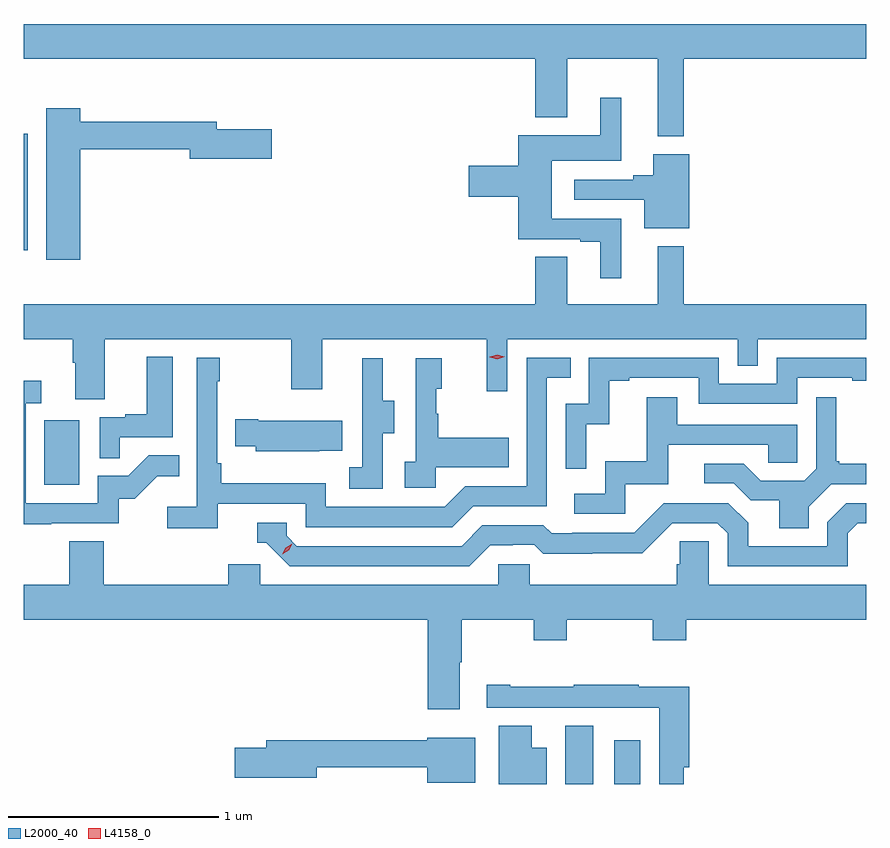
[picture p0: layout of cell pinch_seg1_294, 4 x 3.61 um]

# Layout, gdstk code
import gdstk
lib = gdstk.Library(unit=1e-6, precision=1e-09)
def R(c, l, rs):  # rectangles x0, y0, x1, y1
    for r in rs: c.add(gdstk.rectangle(r[:2], r[2:], *l))
def P(c, l, *ps):  # polygons
    for p in ps: c.add(gdstk.Polygon(p, *l))
L2000_40 = (2000, 40)
L4158_0 = (4158, 0)

pinch_seg1_294 = lib.new_cell('pinch_seg1_294')
R(pinch_seg1_294, L2000_40, [(937.022,561.607,937.156,561.884), (937.256,561.607,937.378,561.814), (934.55,563.028,934.714,563.335), (934.452,564.142,934.47,564.694)])
P(pinch_seg1_294, L2000_40, [(937.585,565.052),(938.452,565.052),(938.452,565.216),(934.452,565.216),(934.452,565.052),(936.881,565.052),(936.881,564.773),(937.033,564.773),(937.033,565.052),(937.463,565.052),(937.463,564.684),(937.585,564.684)],
  [(937.288,564.291),(936.958,564.291),(936.958,564.566),(937.288,564.566),(937.288,564.865),(937.19,564.865),(937.19,564.688),(936.8,564.688),(936.8,564.542),(936.564,564.542),(936.564,564.395),(936.8,564.395),(936.8,564.195),(937.094,564.195),(937.094,564.183),(937.19,564.183),(937.19,564.009),(937.288,564.009)],
  [(934.72,564.622),(935.24,564.622),(935.24,564.575),(935.629,564.575),(935.629,564.717),(935.368,564.717),(935.368,564.751),(934.72,564.751),(934.72,564.817),(934.559,564.817),(934.559,564.096),(934.72,564.096)],
  [(937.613,564.598),(937.442,564.598),(937.442,564.497),(937.346,564.497),(937.346,564.477),(937.065,564.477),(937.065,564.381),(937.397,564.381),(937.397,564.245),(937.613,564.245)],
  [(934.837,563.72),(935.722,563.72),(935.722,563.481),(935.869,563.481),(935.869,563.72),(936.65,563.72),(936.65,563.472),(936.747,563.472),(936.747,563.72),(937.842,563.72),(937.842,563.593),(937.938,563.593),(937.938,563.72),(938.452,563.72),(938.452,563.884),(937.585,563.884),(937.585,564.16),(937.463,564.16),(937.463,563.884),(937.033,563.884),(937.033,564.11),(936.881,564.11),(936.881,563.884),(934.452,563.884),(934.452,563.72),(934.685,563.72),(934.685,563.608),(934.697,563.608),(934.697,563.434),(934.837,563.434)],
  [(934.907,563.253),(935.158,563.253),(935.158,563.635),(935.036,563.635),(935.036,563.362),(934.933,563.362),(934.933,563.349),(934.812,563.349),(934.812,563.155),(934.907,563.155)],
  [(935.372,562.938),(935.79,562.938),(935.79,562.827),(936.487,562.827),(936.586,562.926),(936.936,562.926),(936.936,563.535),(937.049,563.535),(937.049,563.631),(936.84,563.631),(936.84,563.022),(936.549,563.022),(936.45,562.923),(935.886,562.923),(935.886,563.035),(935.39,563.035),(935.39,563.131),(935.37,563.131),(935.37,563.519),(935.383,563.519),(935.383,563.632),(935.274,563.632),(935.274,562.924),(935.133,562.924),(935.133,562.822),(935.372,562.822)],
  [(937.122,563.315),(937.232,563.315),(937.232,563.523),(937.327,563.523),(937.327,563.535),(937.656,563.535),(937.656,563.412),(938.124,563.412),(938.124,563.535),(938.387,563.535),(938.387,563.523),(938.452,563.523),(938.452,563.631),(938.028,563.631),(938.028,563.508),(937.752,563.508),(937.752,563.631),(937.134,563.631),(937.134,563.412),(937.026,563.412),(937.026,563.103),(937.122,563.103)],
  [(936.156,563.272),(936.211,563.272),(936.211,563.427),(936.157,563.427),(936.157,563.629),(936.059,563.629),(936.059,563.415),(936.06,563.415),(936.06,563.111),(935.997,563.111),(935.997,563.008),(936.156,563.008)],
  [(936.408,563.111),(936.755,563.111),(936.755,563.251),(936.421,563.251),(936.421,563.366),(936.411,563.366),(936.411,563.484),(936.436,563.484),(936.436,563.629),(936.312,563.629),(936.312,563.138),(936.261,563.138),(936.261,563.013),(936.408,563.013)],
  [(934.583,562.845),(934.902,562.845),(934.902,562.962),(934.978,562.962),(935.085,563.069),(935.189,563.069),(935.189,563.168),(935.046,563.168),(934.948,563.07),(934.803,563.07),(934.803,562.941),(934.461,562.941),(934.461,563.415),(934.534,563.415),(934.534,563.521),(934.452,563.521),(934.452,562.84),(934.583,562.84)],
  [(937.308,563.031),(937.513,563.031),(937.513,563.217),(937.987,563.217),(937.987,563.133),(938.124,563.133),(938.124,563.313),(937.555,563.313),(937.555,563.443),(937.411,563.443),(937.411,563.14),(937.212,563.14),(937.212,562.986),(937.065,562.986),(937.065,562.89),(937.308,562.89)],
  [(938.179,562.924),(938.286,563.031),(938.452,563.031),(938.452,563.128),(938.323,563.128),(938.323,563.14),(938.311,563.14),(938.311,563.443),(938.214,563.443),(938.214,563.103),(938.157,563.046),(937.951,563.046),(937.87,563.127),(937.683,563.127),(937.683,563.034),(937.824,563.034),(937.904,562.954),(938.039,562.954),(938.039,562.822),(938.179,562.822)],
  [(935.855,563.189),(935.963,563.189),(935.963,563.332),(935.566,563.332),(935.566,563.34),(935.455,563.34),(935.455,563.21),(935.553,563.21),(935.553,563.186),(935.855,563.186)],
  [(936.667,562.74),(936.774,562.74),(936.774,562.743),(936.877,562.743),(936.919,562.701),(937.152,562.701),(937.152,562.703),(937.388,562.703),(937.53,562.845),(937.746,562.845),(937.794,562.797),(937.794,562.641),(938.364,562.641),(938.364,562.797),(938.412,562.845),(938.452,562.845),(938.452,562.941),(938.358,562.941),(938.268,562.851),(938.268,562.737),(937.891,562.737),(937.891,562.847),(937.797,562.941),(937.491,562.941),(937.35,562.8),(937.057,562.8),(937.057,562.797),(936.958,562.797),(936.919,562.836),(936.63,562.836),(936.531,562.737),(935.748,562.737),(935.7,562.785),(935.7,562.848),(935.561,562.848),(935.561,562.752),(935.604,562.752),(935.715,562.641),(936.568,562.641)],
  [(936.523,562.184),(936.531,562.184),(936.531,562.388),(936.874,562.388),(936.874,562.289),(937.029,562.289),(937.029,562.388),(937.438,562.388),(937.438,562.289),(937.598,562.289),(937.598,562.388),(938.452,562.388),(938.452,562.552),(937.704,562.552),(937.704,562.76),(937.567,562.76),(937.567,562.65),(937.553,562.65),(937.553,562.552),(936.855,562.552),(936.855,562.65),(936.705,562.65),(936.705,562.552),(935.574,562.552),(935.574,562.65),(935.423,562.65),(935.423,562.552),(934.832,562.552),(934.832,562.76),(934.667,562.76),(934.667,562.552),(934.452,562.552),(934.452,562.388),(936.371,562.388),(936.371,561.963),(936.523,561.963)],
  [(937.586,561.686),(937.613,561.686),(937.613,562.068),(937.373,562.068),(937.373,562.078),(937.063,562.078),(937.063,562.068),(936.763,562.068),(936.763,562.078),(936.651,562.078),(936.651,561.969),(937.26,561.969),(937.26,561.968),(937.47,561.968),(937.47,561.607),(937.586,561.607)],
  [(936.934,561.778),(936.865,561.778),(936.865,561.884),(936.707,561.884),(936.707,561.607),(936.934,561.607)],
  [(936.595,561.826),(936.368,561.826),(936.368,561.815),(935.603,561.815),(935.603,561.779),(935.454,561.779),(935.454,561.637),(935.842,561.637),(935.842,561.687),(936.368,561.687),(936.368,561.614),(936.595,561.614)])
P(pinch_seg1_294, L4158_0, [(936.7,563.625),(936.664,563.634),(936.664,563.635),(936.664,563.635),(936.7,563.645),(936.735,563.635),(936.735,563.635),(936.735,563.635)],
  [(935.678,562.698),(935.678,562.698),(935.695,562.73),(935.726,562.749),(935.726,562.749),(935.726,562.749),(935.71,562.717),(935.679,562.698)])

lib.write_gds('pinch_seg1_294.gds')
